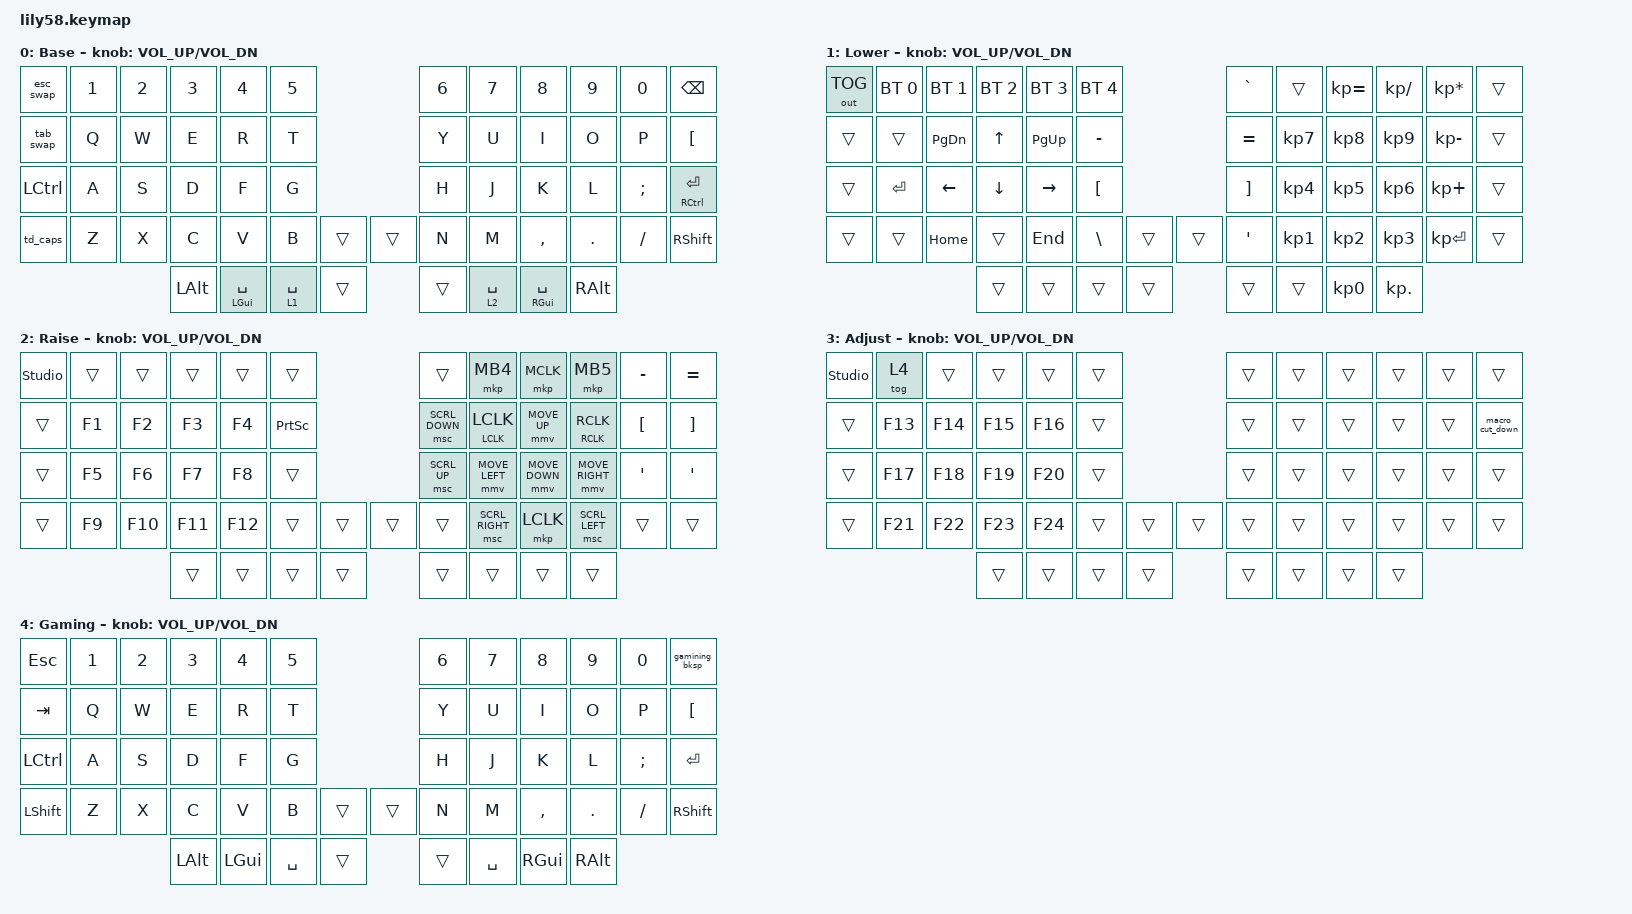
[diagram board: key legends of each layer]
/*
 * Copyright (c) 2020 The ZMK Contributors
 *
 * SPDX-License-Identifier: MIT
 */

#define ZMK_POINTING_DEFAULT_MOVE_VAL 400  // default: 600
#define ZMK_POINTING_DEFAULT_SCRL_VAL 10    // default: 10

#include <behaviors.dtsi>
#include <dt-bindings/zmk/keys.h>
#include <dt-bindings/zmk/modifiers.h>
#include <dt-bindings/zmk/bt.h>
#include <dt-bindings/zmk/ext_power.h>
#include <dt-bindings/zmk/outputs.h>
#include <dt-bindings/zmk/pointing.h>
#include <behaviors/mouse_key_toggle.dtsi>

/ {
    /* Override mouse move acceleration: 2s to reach max speed */
    mmv {
        time-to-max-speed-ms = <2000>;
    };

    behaviors {
        /* Tab: Ctrl -> Shift+Tab ; Shift -> Ctrl+Tab ; Shift+Ctrl -> Shift+Ctrol ; else Tab  (left mods only) */
        tab_no_ctrl: tab_no_ctrl {
            compatible = "zmk,behavior-mod-morph";
            #binding-cells = <0>;
            bindings = <&kp TAB>, <&kp LC(TAB)>;
            mods = <(MOD_LSFT)>;
        };
        tab_on_ctrl: tab_on_ctrl {
            compatible = "zmk,behavior-mod-morph";
            #binding-cells = <0>;
            bindings = <&kp LS(TAB)>, <&kp LC(LS(TAB))>;
            mods = <(MOD_LSFT)>;
        };
        tab_swap: tab_swap {
            compatible = "zmk,behavior-mod-morph";
            #binding-cells = <0>;
            bindings = <&tab_no_ctrl>, <&tab_on_ctrl>;
            mods = <(MOD_LCTL)>;
        };
        /* Esc: Ctrl -> Shift+Esc ; Shift -> Ctrl+Esc ; Shift+Ctrl -> Shift+Ctrl+Esc ; else Esc  (left mods only) */
        esc_no_ctrl: esc_no_ctrl {
            compatible = "zmk,behavior-mod-morph";
            #binding-cells = <0>;
            bindings = <&kp ESC>, <&kp LC(ESC)>;
            mods = <(MOD_LSFT)>;
        };
        esc_on_ctrl: esc_on_ctrl {
            compatible = "zmk,behavior-mod-morph";
            #binding-cells = <0>;
            bindings = <&kp LS(ESC)>, <&kp LC(LS(ESC))>;
            mods = <(MOD_LSFT)>;
        };
        esc_swap: esc_swap {
            compatible = "zmk,behavior-mod-morph";
            #binding-cells = <0>;
            bindings = <&esc_no_ctrl>, <&esc_on_ctrl>;
            mods = <(MOD_LCTL)>;
        };
        /* Gaming exit: LCtrl+LShift+BkSp -> tog 0 (return to base); plain BkSp -> BSPC */
        gamining_bksp_ctrl: gamining_bksp_ctrl {
            compatible = "zmk,behavior-mod-morph";
            #binding-cells = <0>;
            bindings = <&kp BSPC>, <&to 0>;
            mods = <(MOD_LSFT|MOD_RSFT)>;
        };

        gamining_bksp: gamining_bksp {
            compatible = "zmk,behavior-mod-morph";
            #binding-cells = <0>;
            bindings = <&kp BSPC>, <&gamining_bksp_ctrl>;
            mods = <(MOD_LCTL)>;
        };

        /* BT profile: hold 3s = clear all bonds, tap = select profile n
         * The macro wraps &bt BT_SEL, forwarding macro param1 → param2 (profile index).
         * hold-tap forwards param1 → &bt (BT_CLR_CMD), param2 → bt_sel_macro.
         */
        // bt_sel_macro: bt_sel_macro {
        //     compatible = "zmk,behavior-macro-one-param";
        //     #binding-cells = <1>;
        //     bindings = <&macro_param_1to2>, <&bt BT_SEL_CMD 0>;
        // };
        // bt_ht: bt_hold_tap {
        //     compatible = "zmk,behavior-hold-tap";
        //     #binding-cells = <2>;
        //     flavor = "tap-preferred";
        //     tapping-term-ms = <3000>;
        //     bindings = <&bt>, <&bt_sel_macro>;
        // };
        /* Left Shift: hold = Shift, tap = Shift (single), double-tap = Caps Lock */
        td_caps: td_caps {
            compatible = "zmk,behavior-tap-dance";
            #binding-cells = <0>;
            tapping-term-ms = <200>;
            bindings = <&kp LSHFT>, <&kp CAPS>;
        };
        /* Mouse hold-tap: quick tap = click, hold = regular click */
        lclk_ht: lclk_ht {
            compatible = "zmk,behavior-hold-tap";
            #binding-cells = <2>;
            flavor = "balanced";
            tapping-term-ms = <500>;
            bindings = <&mkp &mkp>;
        };
        rclk_ht: rclk_ht {
            compatible = "zmk,behavior-hold-tap";
            #binding-cells = <2>;
            flavor = "balanced";
            tapping-term-ms = <500>;
            bindings = <&mkp &mkp>;
        };
        /* Macro: Ctrl+X then Down arrow */
        macro_cut_down: macro_cut_down {
            compatible = "zmk,behavior-macro";
            #binding-cells = <0>;
            bindings = <&macro_press &kp LCTRL>, <&macro_tap &kp X>, <&macro_release &kp LCTRL>, <&macro_tap &kp DOWN>;
        };
    };

    keymap {
        compatible = "zmk,keymap";

//  =============================  DEFAULT LAYER  =============================
//
//  Silakka54 physical layout (54 keys = 12×4 rows + 6 thumbs):
//
        default_layer {
            label = "Base";
// |  ESC  |  1  |  2  |  3   |  4   |  5   |                   |  6   |  7    |  8    |  9   |   0   | BSPC  |
// |  TAB  |  Q  |  W  |  E   |  R   |  T   |                   |  Y   |  U    |  I    |  O   |   P   | [   |
// | CTRL  |  A  |  S  |  D   |  F   |  G   |                   |  H   |  J    |  K    |  L   |   ;   |t=ENT,h=RCTRL|
// | SHIFT |  Z  |  X  |  C   |  V   |  B   |                   |  N   |  M    |  ,    |  .   |   /   | SHIFT |
//                     | ALT  | t=Spc,h=GUI | LOWER|         | RAISE| t=Spc,h=GUI | ALT  |
            bindings = <
&esc_swap &kp N1 &kp N2 &kp N3 &kp N4 &kp N5                       &kp N6 &kp N7 &kp N8 &kp N9 &kp N0 &kp BSPC
&tab_swap &kp Q  &kp W  &kp E  &kp R  &kp T                        &kp Y  &kp U  &kp I  &kp O  &kp P  &kp LBKT
&kp LCTRL    &kp A  &kp S  &kp D  &kp F  &kp G                        &kp H  &kp J  &kp K  &kp L  &kp SEMI &mt RCTRL RET
&td_caps    &kp Z  &kp X  &kp C  &kp V  &kp B  &trans  &trans        &kp N  &kp M  &kp COMMA &kp DOT &kp FSLH &kp RSHFT
                          &kp LALT &mt LGUI SPACE &lt 1 SPACE  &trans  &trans  &lt 2 SPACE  &mt RGUI SPACE &kp RALT
            >;

            sensor-bindings = <&inc_dec_kp C_VOL_UP C_VOL_DN>;
        };

//  =============================  LOWER LAYER  =============================
//
//  Left = D-PAD + BT + symbols, Right = NUMPAD + scroll
//
        lower_layer {
            label = "Lower";
// D-PAD                                      NUMPAD
// | BTCLR | BT1 | BT2 | BT3  | BT4  | BT5 |                   |  `   |      | Equal  | Slash  |  Star  |    |
// |       |     | PGDN| UP   | PGUP |  -_  |                  |  =+   |  7   |  8    |  9    | MINUS  |     |
// |       | ENTE |LEFT | DOWN |RIGHT |  {  |                   |   }  |  4   |  5    |  6    | PLUS   |       |
// |       |     |HOME |      | END  |  \  |                   |  '   |  1   |  2    |  3    | ENTER  |       |
//                     |      |      |      |                  |      |  0   |   .    |
            bindings = <
&out OUT_TOG &bt BT_SEL 0 &bt BT_SEL 1 &bt BT_SEL 2 &bt BT_SEL 3 &bt BT_SEL 4                   &kp GRAVE &trans &kp KP_EQUAL &kp KP_SLASH &kp KP_ASTERISK &trans
&trans     &trans       &kp PG_DN    &kp UP       &kp PG_UP     &kp MINUS                              &kp EQUAL &kp KP_N7 &kp KP_N8 &kp KP_N9 &kp KP_MINUS &trans
&trans     &kp RET      &kp LEFT     &kp DOWN     &kp RIGHT     &kp LBKT                               &kp RBKT  &kp KP_N4 &kp KP_N5 &kp KP_N6 &kp KP_PLUS  &trans
&trans     &trans       &kp HOME     &trans       &kp END       &kp BSLH  &trans  &trans               &kp SQT &kp KP_N1 &kp KP_N2 &kp KP_N3 &kp KP_ENTER &trans
                                                  &trans        &trans    &trans   &trans  &trans         &trans    &kp KP_N0 &kp KP_DOT
            >;

            sensor-bindings = <&inc_dec_kp C_VOL_UP C_VOL_DN>;
        };

//  =============================  RAISE LAYER  =============================
//
//  Left = FUNC (F1–F12), Right = MOUSE
//
        raise_layer {
            label = "Raise";
//                FUNC                                            MOUSE
// | STDUI |     |     |      |      |      |                   |      |  MB4 |MMIDDLE|  MB5  |   -_    |    =+    |
// |       |  F1 |  F2 |  F3  |  F4  |  PSCN    |                   | MSCRDN  | MCL  |  MUP  | MCR   | [{] |   ]}     |
// |       |  F5 |  F6 |  F7  |  F8  |      |                   |  MSCRUP |MLEFT | MDOWN |MRIGHT | '" |   '"   |
// |       |  F9 | F10 | F11  | F12  |      |                   |   |  MSR  | MCLL |   MSL  |        |        |
//                     | MSPD-| MSPD+|      |                   |      |      |        |
            bindings = <
&studio_unlock &trans &trans &trans  &trans  &trans                                              &trans  &mkp MB4 &mkp MCLK &mkp MB5  &kp MINUS &kp EQUAL
&trans &kp F1  &kp F2 &kp F3 &kp F4  &kp PSCRN                                             &msc SCRL_DOWN  &lclk_ht LCLK LCLK &mmv MOVE_UP &rclk_ht RCLK RCLK  &kp LBKT  &kp RBKT
&trans &kp F5  &kp F6 &kp F7 &kp F8  &trans                                              &msc SCRL_UP  &mmv MOVE_LEFT &mmv MOVE_DOWN &mmv MOVE_RIGHT &kp SQT &kp SQT
&trans  &kp F9  &kp F10 &kp F11 &kp F12 &trans &trans  &trans                               &trans  &msc SCRL_RIGHT &mkp LCLK  &msc SCRL_LEFT   &trans    &trans
                          &trans &trans &trans &trans  &trans  &trans                       &trans    &trans
            >;

            sensor-bindings = <&inc_dec_kp C_VOL_UP C_VOL_DN>;
        };

//  =============================  ADJUST LAYER  =============================
//
//  Activated when LOWER + RAISE layer keys are held together.
//  (ZMK maps 'both held' to a single layer; press order is not distinguished.)
//
        adjust_layer {
            label = "Adjust";
// | STUIO | GAM |     |      |      |      |                   |      |      |       |       |       |        |
// |       | F13 | F14 | F15  |  F16 |      |                   |      |      |       |       |       |        |
// |       | F17 | F18 | F19  |  F20 |      |                   |      |      |       |       |       |        |
// |       | F21 | F22 | F23  |  F24 |      |                   |      |      |       |       |       |        |
//                     |      |      |      |                   |      |      |       |
            bindings = <
&studio_unlock &tog 4 &trans &trans &trans &trans                                            &trans &trans &trans &trans &trans &trans
&trans &kp F13 &kp F14 &kp F15 &kp F16 &trans                                            &trans &trans &trans &trans &trans &macro_cut_down
&trans &kp F17 &kp F18 &kp F19 &kp F20 &trans                                            &trans &trans &trans &trans &trans &trans
&trans &kp F21 &kp F22 &kp F23 &kp F24 &trans &trans  &trans                               &trans &trans &trans &trans &trans &trans
                          &trans &trans &trans &trans  &trans  &trans                       &trans    &trans
            >;

            sensor-bindings = <&inc_dec_kp C_VOL_UP C_VOL_DN>;
        };

//  =============================  GAMING LAYER  =============================
//
//  Clean WASD layout — no mod-morphs, no tap-dances, no layer toggles.
//  Activated via LOWER+RAISE+1 (tog 4). Press ESC to return to DEFAULT.
//
        gaming_layer {
            label = "Gaming";
// |  ESC  |  1  |  2  |  3   |  4   |  5   |                   |  6   |  7    |  8    |  9   |   0   | BSPC  |
// |  TAB  |  Q  |  W  |  E   |  R   |  T   |                   |  Y   |  U    |  I    |  O   |   P   | [{   |
// | CTRL  |  A  |  S  |  D   |  F   |  G   |                   |  H   |  J    |  K    |  L   |   ;   | ENTER |
// | SHIFT |  Z  |  X  |  C   |  V   |  B   |                   |  N   |  M    |  ,    |  .   |   /   | SHIFT |
//                     | ALT  | LGUI |SPACE |                   | SPACE| RGUI | ALT  |
            bindings = <
&kp ESC     &kp N1 &kp N2 &kp N3 &kp N4 &kp N5                       &kp N6 &kp N7 &kp N8 &kp N9 &kp N0 &gamining_bksp
&kp TAB     &kp Q  &kp W  &kp E  &kp R  &kp T                        &kp Y  &kp U  &kp I  &kp O  &kp P  &kp LBKT
&kp LCTRL   &kp A  &kp S  &kp D  &kp F  &kp G                        &kp H  &kp J  &kp K  &kp L  &kp SEMI &kp ENTER
&kp LSHFT   &kp Z  &kp X  &kp C  &kp V  &kp B  &trans  &trans        &kp N  &kp M  &kp COMMA &kp DOT &kp FSLH &kp RSHFT
                          &kp LALT &kp LGUI &kp SPACE  &trans  &trans    &kp SPACE &kp RGUI &kp RALT
            >;

            sensor-bindings = <&inc_dec_kp C_VOL_UP C_VOL_DN>;
        };
    };
 
    conditional_layers {
        compatible = "zmk,conditional-layers";
        adjust_on_both {
            if-layers = <1 2>;
            then-layer = <3>;
        };
    };
};
